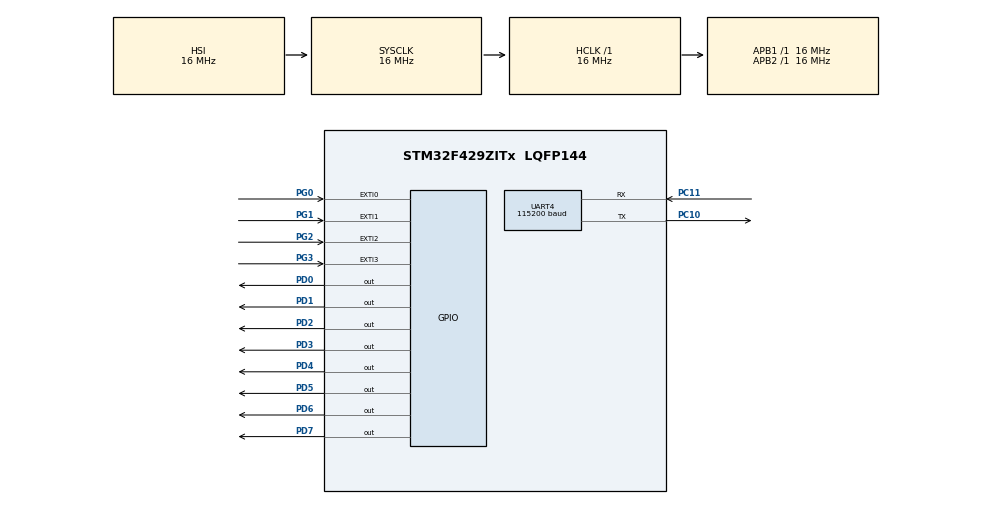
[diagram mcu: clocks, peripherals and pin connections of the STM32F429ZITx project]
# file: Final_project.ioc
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Mcu.Family=STM32F4
Mcu.Name=STM32F429ZITx
Mcu.Package=LQFP144
NVIC.EXTI0_IRQn=true\:0\:0\:false\:false\:true\:true\:true\:true
NVIC.EXTI1_IRQn=true\:0\:0\:false\:false\:true\:true\:true\:true
NVIC.EXTI2_IRQn=true\:0\:0\:false\:false\:true\:true\:true\:true
NVIC.EXTI3_IRQn=true\:0\:0\:false\:false\:true\:true\:true\:true
NVIC.PriorityGroup=NVIC_PRIORITYGROUP_4
NVIC.UART4_IRQn=true\:0\:0\:false\:false\:true\:true\:true\:true
PA13.Mode=Serial_Wire
PA13.Signal=SYS_JTMS-SWDIO
PA14.Mode=Serial_Wire
PA14.Signal=SYS_JTCK-SWCLK
PC10.Mode=Asynchronous
PC10.Signal=UART4_TX
PC11.Mode=Asynchronous
PC11.Signal=UART4_RX
PD0.GPIO_ModeDefaultOutputPP=GPIO_MODE_OUTPUT_PP
PD0.GPIO_PuPd=GPIO_PULLUP
PD0.GPIO_Speed=GPIO_SPEED_FREQ_HIGH
PD0.PinState=GPIO_PIN_RESET
PD0.Signal=GPIO_Output
PD1.GPIO_ModeDefaultOutputPP=GPIO_MODE_OUTPUT_PP
PD1.GPIO_PuPd=GPIO_PULLUP
PD1.GPIO_Speed=GPIO_SPEED_FREQ_HIGH
PD1.PinState=GPIO_PIN_RESET
PD1.Signal=GPIO_Output
PD2.GPIO_ModeDefaultOutputPP=GPIO_MODE_OUTPUT_PP
PD2.GPIO_PuPd=GPIO_PULLUP
PD2.GPIO_Speed=GPIO_SPEED_FREQ_HIGH
PD2.PinState=GPIO_PIN_RESET
PD2.Signal=GPIO_Output
PD3.GPIO_ModeDefaultOutputPP=GPIO_MODE_OUTPUT_PP
PD3.GPIO_PuPd=GPIO_PULLUP
PD3.GPIO_Speed=GPIO_SPEED_FREQ_HIGH
PD3.PinState=GPIO_PIN_RESET
PD3.Signal=GPIO_Output
PD4.GPIO_ModeDefaultOutputPP=GPIO_MODE_OUTPUT_PP
PD4.GPIO_PuPd=GPIO_PULLUP
PD4.GPIO_Speed=GPIO_SPEED_FREQ_HIGH
PD4.PinState=GPIO_PIN_RESET
PD4.Signal=GPIO_Output
PD5.GPIO_ModeDefaultOutputPP=GPIO_MODE_OUTPUT_PP
PD5.GPIO_PuPd=GPIO_PULLUP
PD5.GPIO_Speed=GPIO_SPEED_FREQ_HIGH
PD5.PinState=GPIO_PIN_RESET
PD5.Signal=GPIO_Output
PD6.GPIO_ModeDefaultOutputPP=GPIO_MODE_OUTPUT_PP
PD6.GPIO_PuPd=GPIO_PULLUP
PD6.GPIO_Speed=GPIO_SPEED_FREQ_HIGH
PD6.PinState=GPIO_PIN_RESET
PD6.Signal=GPIO_Output
PD7.GPIO_ModeDefaultOutputPP=GPIO_MODE_OUTPUT_PP
PD7.GPIO_PuPd=GPIO_PULLUP
PD7.GPIO_Speed=GPIO_SPEED_FREQ_HIGH
PD7.PinState=GPIO_PIN_RESET
PD7.Signal=GPIO_Output
PG0.GPIO_ModeDefaultEXTI=GPIO_MODE_IT_FALLING
PG0.GPIO_PuPd=GPIO_NOPULL
PG0.Signal=GPXTI0
PG1.GPIO_ModeDefaultEXTI=GPIO_MODE_IT_FALLING
PG1.GPIO_PuPd=GPIO_NOPULL
PG1.Signal=GPXTI1
PG2.GPIO_ModeDefaultEXTI=GPIO_MODE_IT_FALLING
PG2.GPIO_PuPd=GPIO_NOPULL
PG2.Signal=GPXTI2
PG3.GPIO_ModeDefaultEXTI=GPIO_MODE_IT_FALLING
PG3.GPIO_PuPd=GPIO_NOPULL
PG3.Signal=GPXTI3
ProjectManager.HeapSize=0x200
ProjectManager.StackSize=0x400
ProjectManager.TargetToolchain=STM32CubeIDE
RCC.AHBFreq_Value=16000000
RCC.APB1Freq_Value=16000000
RCC.APB2Freq_Value=16000000
RCC.CortexFreq_Value=16000000
RCC.HSE_VALUE=25000000
RCC.HSI_VALUE=16000000
RCC.LSE_VALUE=32768
RCC.SYSCLKFreq_VALUE=16000000
RCC.VCOOutputFreq_Value=192000000
UART4.BaudRate=115200
UART4.VirtualMode=Asynchronous
board=custom

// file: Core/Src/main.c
/* USER CODE BEGIN Header */
/**
  ******************************************************************************
  * @file           : main.c
  * @brief          : Main program body
  ******************************************************************************
  * @attention
  *
  * Copyright (c) 2022 STMicroelectronics.
  * All rights reserved.
  *
  * This software is licensed under terms that can be found in the LICENSE file
  * in the root directory of this software component.
  * If no LICENSE file comes with this software, it is provided AS-IS.
  *
  ******************************************************************************
  */
/* USER CODE END Header */
#include "main.h"

/* USER CODE BEGIN PD */
#define TxBufferSize		(countof(TxBuffer) - 1)
#define RxBufferSize		0XFF
#define countof(a)			(sizeof(a) / sizeof(*(a)))
/* USER CODE END PD */

UART_HandleTypeDef huart4;

/* USER CODE BEGIN PV */
uint8_t TxBuffer[] = "\n\rTransmission Success !!\n\r\n\r";
uint8_t RxBuffer[RxBufferSize];
uint8_t TxBuffer_L[] = "L";
uint8_t TxBuffer_H[] = "H";
int flag_SW1 = 0, flag_SW2 = 0;

uint8_t RxBuffer_UART4[] = "0";

/* USER CODE END PV */

void SystemClock_Config(void);
static void MX_GPIO_Init(void);
static void MX_UART4_Init(void);
/* USER CODE BEGIN PFP */
void LED_OnOff(int, int);
/* USER CODE END PFP */

int main(void)
{
  /* USER CODE BEGIN 1 */
	uint16_t led = 0x01;
  /* USER CODE END 1 */

  /* MCU Configuration--------------------------------------------------------*/

  /* Reset of all peripherals, Initializes the Flash interface and the Systick. */
  HAL_Init();

  /* Configure the system clock */
  SystemClock_Config();

  /* Initialize all configured peripherals */
  MX_GPIO_Init();
  MX_UART4_Init();
  /* USER CODE BEGIN 2 */
  LED_OnOff(LED_ALL, 500);
  HAL_UART_Transmit(&huart4, (uint8_t*)TxBuffer, TxBufferSize, 0xFFFF);
  /* USER CODE END 2 */

  /* Infinite loop */
  while (1)
  {

  }
}

void SystemClock_Config(void)
{
  RCC_OscInitTypeDef RCC_OscInitStruct = {0};
  RCC_ClkInitTypeDef RCC_ClkInitStruct = {0};

  /** Configure the main internal regulator output voltage
  */
  __HAL_RCC_PWR_CLK_ENABLE();
  __HAL_PWR_VOLTAGESCALING_CONFIG(PWR_REGULATOR_VOLTAGE_SCALE3);

  /** Initializes the RCC Oscillators according to the specified parameters
  * in the RCC_OscInitTypeDef structure.
  */
  RCC_OscInitStruct.OscillatorType = RCC_OSCILLATORTYPE_HSI;
  RCC_OscInitStruct.HSIState = RCC_HSI_ON;
  RCC_OscInitStruct.HSICalibrationValue = RCC_HSICALIBRATION_DEFAULT;
  RCC_OscInitStruct.PLL.PLLState = RCC_PLL_NONE;
  if (HAL_RCC_OscConfig(&RCC_OscInitStruct) != HAL_OK)
  {
    Error_Handler();
  }

  /** Initializes the CPU, AHB and APB buses clocks
  */
  RCC_ClkInitStruct.ClockType = RCC_CLOCKTYPE_HCLK|RCC_CLOCKTYPE_SYSCLK
                              |RCC_CLOCKTYPE_PCLK1|RCC_CLOCKTYPE_PCLK2;
  RCC_ClkInitStruct.SYSCLKSource = RCC_SYSCLKSOURCE_HSI;
  RCC_ClkInitStruct.AHBCLKDivider = RCC_SYSCLK_DIV1;
  RCC_ClkInitStruct.APB1CLKDivider = RCC_HCLK_DIV1;
  RCC_ClkInitStruct.APB2CLKDivider = RCC_HCLK_DIV1;

  if (HAL_RCC_ClockConfig(&RCC_ClkInitStruct, FLASH_LATENCY_0) != HAL_OK)
  {
    Error_Handler();
  }
}

static void MX_UART4_Init(void)
{

  huart4.Instance = UART4;
  huart4.Init.BaudRate = 115200;
  huart4.Init.WordLength = UART_WORDLENGTH_8B;
  huart4.Init.StopBits = UART_STOPBITS_1;
  huart4.Init.Parity = UART_PARITY_NONE;
  huart4.Init.Mode = UART_MODE_TX_RX;
  huart4.Init.HwFlowCtl = UART_HWCONTROL_NONE;
  huart4.Init.OverSampling = UART_OVERSAMPLING_16;
  if (HAL_UART_Init(&huart4) != HAL_OK)
  {
    Error_Handler();
  }

}

static void MX_GPIO_Init(void)
{
  GPIO_InitTypeDef GPIO_InitStruct = {0};

  /* GPIO Ports Clock Enable */
  __HAL_RCC_GPIOG_CLK_ENABLE();
  __HAL_RCC_GPIOA_CLK_ENABLE();
  __HAL_RCC_GPIOC_CLK_ENABLE();
  __HAL_RCC_GPIOD_CLK_ENABLE();

  /*Configure GPIO pin Output Level */
  HAL_GPIO_WritePin(GPIOD, GPIO_PIN_0|GPIO_PIN_1|GPIO_PIN_2|GPIO_PIN_3
                          |GPIO_PIN_4|GPIO_PIN_5|GPIO_PIN_6|GPIO_PIN_7, GPIO_PIN_RESET);

  /*Configure GPIO pins : PG0 PG1 PG2 PG3 */
  GPIO_InitStruct.Pin = GPIO_PIN_0|GPIO_PIN_1|GPIO_PIN_2|GPIO_PIN_3;
  GPIO_InitStruct.Mode = GPIO_MODE_IT_FALLING;
  GPIO_InitStruct.Pull = GPIO_NOPULL;
  HAL_GPIO_Init(GPIOG, &GPIO_InitStruct);

  /*Configure GPIO pins : PD0 PD1 PD2 PD3
                           PD4 PD5 PD6 PD7 */
  GPIO_InitStruct.Pin = GPIO_PIN_0|GPIO_PIN_1|GPIO_PIN_2|GPIO_PIN_3
                          |GPIO_PIN_4|GPIO_PIN_5|GPIO_PIN_6|GPIO_PIN_7;
  GPIO_InitStruct.Mode = GPIO_MODE_OUTPUT_PP;
  GPIO_InitStruct.Pull = GPIO_PULLUP;
  GPIO_InitStruct.Speed = GPIO_SPEED_FREQ_HIGH;
  HAL_GPIO_Init(GPIOD, &GPIO_InitStruct);

  /* EXTI interrupt init*/
  HAL_NVIC_SetPriority(EXTI0_IRQn, 0, 0);
  HAL_NVIC_EnableIRQ(EXTI0_IRQn);

  HAL_NVIC_SetPriority(EXTI1_IRQn, 0, 0);
  HAL_NVIC_EnableIRQ(EXTI1_IRQn);

  HAL_NVIC_SetPriority(EXTI2_IRQn, 0, 0);
  HAL_NVIC_EnableIRQ(EXTI2_IRQn);

  HAL_NVIC_SetPriority(EXTI3_IRQn, 0, 0);
  HAL_NVIC_EnableIRQ(EXTI3_IRQn);

}

/* USER CODE BEGIN 4 */
void LED_OnOff(int led, int interval){
	HAL_GPIO_WritePin(GPIO_LED, led, GPIO_PIN_SET);
	HAL_GPIO_WritePin(GPIO_LED_Nucleo, led, GPIO_PIN_SET);
	HAL_Delay(interval);
	HAL_GPIO_WritePin(GPIO_LED, led, GPIO_PIN_RESET);
	HAL_GPIO_WritePin(GPIO_LED_Nucleo, led, GPIO_PIN_RESET);
}
void HAL_GPIO_EXTI_Callback(uint16_t GPIO_PIN){
	if (GPIO_PIN == SW1) {
		flag_SW1 = 1;
		flag_SW2 = 0;
	}
	else if (GPIO_PIN == SW2){
		flag_SW1 = 0;
		flag_SW2 = 1;
	}
}
/* USER CODE END 4 */

void Error_Handler(void)
{
  __disable_irq();
  while (1)
  {
  }
}
